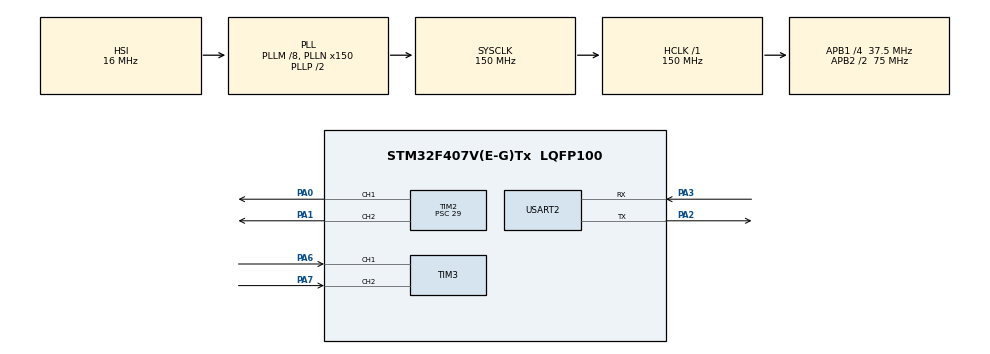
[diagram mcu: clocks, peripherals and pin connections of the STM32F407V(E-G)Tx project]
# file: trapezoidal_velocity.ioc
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Mcu.Family=STM32F4
Mcu.Name=STM32F407V(E-G)Tx
Mcu.Package=LQFP100
NVIC.PriorityGroup=NVIC_PRIORITYGROUP_4
NVIC.TIM4_IRQn=true\:1\:0\:true\:false\:true\:true\:true\:true
NVIC.USART2_IRQn=true\:0\:0\:true\:false\:true\:true\:true\:true
PA0-WKUP.Signal=S_TIM2_CH1_ETR
PA1.Signal=S_TIM2_CH2
PA13.Mode=Serial_Wire
PA13.Signal=SYS_JTMS-SWDIO
PA14.Mode=Serial_Wire
PA14.Signal=SYS_JTCK-SWCLK
PA2.Mode=Asynchronous
PA2.Signal=USART2_TX
PA3.Mode=Asynchronous
PA3.Signal=USART2_RX
PA6.Signal=S_TIM3_CH1
PA7.Signal=S_TIM3_CH2
PH0-OSC_IN.Mode=HSE-External-Oscillator
PH0-OSC_IN.Signal=RCC_OSC_IN
PH1-OSC_OUT.Mode=HSE-External-Oscillator
PH1-OSC_OUT.Signal=RCC_OSC_OUT
ProjectManager.HeapSize=0x200
ProjectManager.StackSize=0x400
ProjectManager.TargetToolchain=STM32CubeIDE
RCC.48MHZClocksFreq_Value=75000000
RCC.AHBFreq_Value=150000000
RCC.APB1CLKDivider=RCC_HCLK_DIV4
RCC.APB1Freq_Value=37500000
RCC.APB1TimFreq_Value=75000000
RCC.APB2CLKDivider=RCC_HCLK_DIV2
RCC.APB2Freq_Value=75000000
RCC.APB2TimFreq_Value=150000000
RCC.CortexFreq_Value=150000000
RCC.HCLKFreq_Value=150000000
RCC.HSE_VALUE=25000000
RCC.HSI_VALUE=16000000
RCC.LSE_VALUE=32768
RCC.PLLM=8
RCC.PLLN=150
RCC.SYSCLKFreq_VALUE=150000000
RCC.SYSCLKSource=RCC_SYSCLKSOURCE_PLLCLK
RCC.VCOOutputFreq_Value=300000000
SH.S_TIM2_CH1_ETR.0=TIM2_CH1,PWM Generation1 CH1
SH.S_TIM2_CH2.0=TIM2_CH2,PWM Generation2 CH2
SH.S_TIM3_CH1.0=TIM3_CH1,Encoder_Interface
SH.S_TIM3_CH2.0=TIM3_CH2,Encoder_Interface
TIM2.Channel-PWM\ Generation1\ CH1=TIM_CHANNEL_1
TIM2.Channel-PWM\ Generation2\ CH2=TIM_CHANNEL_2
TIM2.CounterMode=TIM_COUNTERMODE_CENTERALIGNED3
TIM2.OCPolarity_1=TIM_OCPOLARITY_HIGH
TIM2.OCPolarity_2=TIM_OCPOLARITY_HIGH
TIM2.Period=99
TIM2.Prescaler=29
TIM3.EncoderMode=TIM_ENCODERMODE_TI12
TIM4.Period=999
TIM4.Prescaler=749
USART2.VirtualMode=VM_ASYNC
VP_TIM4_VS_ClockSourceINT.Mode=Internal
board=custom

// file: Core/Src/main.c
/* USER CODE BEGIN Header */
/**
 ******************************************************************************
 * @file           : main.c
 * @brief          : Main program body
 ******************************************************************************
 * @attention
 *
 * Copyright (c) 2023 STMicroelectronics.
 * All rights reserved.
 *
 * This software is licensed under terms that can be found in the LICENSE file
 * in the root directory of this software component.
 * If no LICENSE file comes with this software, it is provided AS-IS.
 *
 ******************************************************************************
 */
/* USER CODE END Header */
#include "main.h"
#include "gpio.h"
#include "tim.h"
#include "usart.h"

/* USER CODE BEGIN Includes */
#include "motor.h"
#include "pid.h"
#include "serial.h"
#include "stdio.h"
#include "string.h"

/* USER CODE END Includes */

void SystemClock_Config(void);

/* USER CODE BEGIN 0 */
Motor_t motor;
PID_CONTROL_t pid;
PROCESS_t process;
PROFILE_t profile;

extern uint8_t g_nRxBuff[MAX_LEN];
extern uint8_t g_strCommand[4];
extern uint8_t g_nRxData[16];
extern uint8_t g_kp[4];
extern uint8_t g_ki[4];
extern uint8_t g_kd[4];
extern uint8_t g_Setpoint[4];
extern bool g_bDataAvailable;

extern uint8_t g_Vmax[4];
extern uint8_t g_Amax[4];
extern uint8_t g_Position[4];

uint8_t g_strTxCommand[4];
uint8_t g_nTxData[16];
uint8_t *g_vel1;
uint8_t *g_pos1;
uint8_t *g_vel2;
uint8_t *g_pos2;

/* USER CODE END 0 */

int main(void) {

  /* MCU Configuration--------------------------------------------------------*/

  /* Reset of all peripherals, Initializes the Flash interface and the Systick.
   */
  HAL_Init();

  /* Configure the system clock */
  SystemClock_Config();

  /* Initialize all configured peripherals */
  MX_GPIO_Init();
  MX_USART2_UART_Init();
  MX_TIM2_Init();
  MX_TIM3_Init();
  MX_TIM4_Init();
  /* USER CODE BEGIN 2 */
  SerialInit();
  HAL_TIM_Encoder_Start(&htim3, TIM_CHANNEL_1);
  HAL_TIM_Encoder_Start(&htim3, TIM_CHANNEL_2);

  HAL_TIM_Base_Start_IT(&htim4);

  HAL_TIM_PWM_Start(&htim2, TIM_CHANNEL_1);
  HAL_TIM_PWM_Start(&htim2, TIM_CHANNEL_2);

  /* USER CODE END 2 */

  /* Infinite loop */
  while (1) {

    /* USER CODE BEGIN 3 */
    if (g_bDataAvailable == true) {
      if (StrCompare(g_strCommand, (uint8_t *)"SPID", 4)) {
        process = SPID;
      } else if (StrCompare(g_strCommand, (uint8_t *)"VTUN", 4)) {
        process = VTUN;
      } else if (StrCompare(g_strCommand, (uint8_t *)"PTUN", 4)) {
        process = PTUN;
      } else if (StrCompare(g_strCommand, (uint8_t *)"STOP", 4)) {
        process = STOP;
      } else if (StrCompare(g_strCommand, (uint8_t *)"MOVP", 4)) {
              process = MOVP;
      } else if (StrCompare(g_strCommand, (uint8_t *)"MOVV", 4)) {
              process = MOVV;
      } else if (StrCompare(g_strCommand, (uint8_t *)"SINF", 4)) {
        process = SINF;
      } else {
        process = NONE;
      }
      g_bDataAvailable = false;
    }
    switch (process) {
    case NONE:
      SerialAcceptReceive();
      break;
    case SPID:
      PIDReset(&pid);

      // get parameter
      pid.dKp = (*(float *)g_kp);
      pid.dKi = (*(float *)g_ki);
      pid.dKd = (*(float *)g_kd);

      // get setPoint
      motor.setPoint = (*(float *)g_Setpoint);

      process = NONE;
      break;
    case VTUN:

      break;
    case PTUN:

      break;
    case STOP:

      PIDReset(&pid);

      MotorReset(&motor);

      htim3.Instance->CNT = 0;
      MotorSetDuty(0, &htim2);

      process = NONE;
      break;
    case SINF:

      profile.dAccelMax = (*(float *)g_Amax);
      profile.dVelMax = (*(float *)g_Vmax);
      profile.dPosMax = (*(float *)g_Position) / DEGREE;

      MotorTrapzoidalInit(&profile);
      break;
    case MOVP:
          break;
     case MOVV:
          break;
      SerialAcceptReceive();
    }
  }
  /* USER CODE END 3 */
}

void SystemClock_Config(void) {
  RCC_OscInitTypeDef RCC_OscInitStruct = {0};
  RCC_ClkInitTypeDef RCC_ClkInitStruct = {0};

  /** Configure the main internal regulator output voltage
   */
  __HAL_RCC_PWR_CLK_ENABLE();
  __HAL_PWR_VOLTAGESCALING_CONFIG(PWR_REGULATOR_VOLTAGE_SCALE1);

  /** Initializes the RCC Oscillators according to the specified parameters
   * in the RCC_OscInitTypeDef structure.
   */
  RCC_OscInitStruct.OscillatorType = RCC_OSCILLATORTYPE_HSI;
  RCC_OscInitStruct.HSIState = RCC_HSI_ON;
  RCC_OscInitStruct.HSICalibrationValue = RCC_HSICALIBRATION_DEFAULT;
  RCC_OscInitStruct.PLL.PLLState = RCC_PLL_ON;
  RCC_OscInitStruct.PLL.PLLSource = RCC_PLLSOURCE_HSI;
  RCC_OscInitStruct.PLL.PLLM = 8;
  RCC_OscInitStruct.PLL.PLLN = 150;
  RCC_OscInitStruct.PLL.PLLP = RCC_PLLP_DIV2;
  RCC_OscInitStruct.PLL.PLLQ = 4;
  if (HAL_RCC_OscConfig(&RCC_OscInitStruct) != HAL_OK) {
    Error_Handler();
  }

  /** Initializes the CPU, AHB and APB buses clocks
   */
  RCC_ClkInitStruct.ClockType = RCC_CLOCKTYPE_HCLK | RCC_CLOCKTYPE_SYSCLK |
                                RCC_CLOCKTYPE_PCLK1 | RCC_CLOCKTYPE_PCLK2;
  RCC_ClkInitStruct.SYSCLKSource = RCC_SYSCLKSOURCE_PLLCLK;
  RCC_ClkInitStruct.AHBCLKDivider = RCC_SYSCLK_DIV1;
  RCC_ClkInitStruct.APB1CLKDivider = RCC_HCLK_DIV4;
  RCC_ClkInitStruct.APB2CLKDivider = RCC_HCLK_DIV2;

  if (HAL_RCC_ClockConfig(&RCC_ClkInitStruct, FLASH_LATENCY_4) != HAL_OK) {
    Error_Handler();
  }
}

/* USER CODE BEGIN 4 */
void HAL_TIM_PeriodElapsedCallback(TIM_HandleTypeDef *htim) {

  if (htim->Instance == htim4.Instance) {

    switch (process) {
    case NONE:
      break;
    case SPID:
      break;
    case VTUN:

      ReadEncoder(&motor, &htim3);

      MotorSetDuty((int)MotorTuningVelocity(&pid, &motor, motor.setPoint),
                   &htim2);

      g_vel1 = (uint8_t *)(&motor.velocity);

      memcpy(g_nTxData, g_vel1, 4);

      // send data
      SerialWriteComm(g_strCommand, g_nTxData);
      break;

    case PTUN:

        ReadEncoder(&motor, &htim3);

        MotorSetDuty((int)MotorTuningPosition(&pid, &motor, motor.setPoint),
                     &htim2);

        g_pos1 = (uint8_t *)(&motor.position);

        memcpy(g_nTxData + 8, g_pos1, 4);

        // send data
        SerialWriteComm(g_strCommand, g_nTxData);
      break;
    case STOP:
      break;
    case MOVP:
	      ReadEncoder(&motor, &htim3);
	      MotorMovePosP(&profile, &pid, &motor, &htim2);

	      g_vel1 = (uint8_t *)(&motor.velocity);
	      g_vel2 = (uint8_t *)(&motor.v_ref0);
	      g_pos1 = (uint8_t *)(&motor.position);
	      g_pos2 = (uint8_t *)(&motor.p_ref0);

	      memcpy(g_nTxData, g_vel1, 4);
	      memcpy(g_nTxData + 4, g_vel2, 4);
	      memcpy(g_nTxData + 8, g_pos1, 4);
	      memcpy(g_nTxData + 12, g_pos2, 4);

	      // send data
	      SerialWriteComm(g_strCommand, g_nTxData);

	      if (profile.nTime > profile.dMidStep3) {
	        process = STOP;
	      }
      break;
    case MOVV:
    	      ReadEncoder(&motor, &htim3);
    	      MotorMovePosV(&profile, &pid, &motor, &htim2);

    	      g_vel1 = (uint8_t *)(&motor.velocity);
    	      g_vel2 = (uint8_t *)(&motor.v_ref0);
    	      g_pos1 = (uint8_t *)(&motor.position);
    	      g_pos2 = (uint8_t *)(&motor.p_ref0);

    	      memcpy(g_nTxData, g_vel1, 4);
    	      memcpy(g_nTxData + 4, g_vel2, 4);
    	      memcpy(g_nTxData + 8, g_pos1, 4);
    	      memcpy(g_nTxData + 12, g_pos2, 4);

    	      // send data
    	      SerialWriteComm(g_strCommand, g_nTxData);

    	      if (profile.nTime > profile.dMidStep3) {
    	        process = STOP;
    	      }
      break;
    case SINF:
      break;
    }
  }
}
/* USER CODE END 4 */

void Error_Handler(void) {
  __disable_irq();
  while (1) {
  }
}

#ifdef USE_FULL_ASSERT
/**
 * @brief  Reports the name of the source file and the source line number
 *         where the assert_param error has occurred.
 * @param  file: pointer to the source file name
 * @param  line: assert_param error line source number
 * @retval None
 */
void assert_failed(uint8_t *file, uint32_t line) {
  /* USER CODE BEGIN 6 */
  /* User can add his own implementation to report the file name and line
     number, ex: printf("Wrong parameters value: file %s on line %d\r\n", file,
     line) */
  /* USER CODE END 6 */
}
#endif /* USE_FULL_ASSERT */
